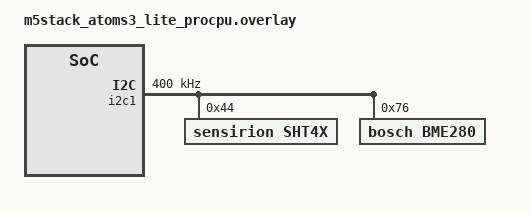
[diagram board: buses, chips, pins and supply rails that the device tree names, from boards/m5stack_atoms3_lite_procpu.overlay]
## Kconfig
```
# Private config options for LwM2M client sample

# Copyright (c) 2023 NordicNordic Semiconductor ASA
# SPDX-License-Identifier: Apache-2.0

mainmenu "LwM2M Client sample"

config LWM2M_APP_ID
	string "LwM2M Client identity"
	default ""
	help
	  This is used as client endpoint name as well as PSK ID.
	  Leave empty for using CONFIG_BOARD

if LWM2M_DTLS_SUPPORT
config LWM2M_APP_PSK
	string "PSK key"
	default "000102030405060708090a0b0c0d0e0f"
	help
	  PSK key as a hex string.
	  Maximum binary size is CONFIG_LWM2M_SECURITY_KEY_SIZE.

config LWM2M_APP_TLS_TAG
	int "TLS security tag"
	default 1
	help
	  TLS security tag to use when connecting.
endif

if WIFI
config WIFI_SSID
	string "WiFi SSID"
	#default "my_wifi"
	default "FRITZ!Box 3490"
	help
	  WiFi SSID to connect to.

config WIFI_PSK
	string "WiFi PSK"
	#default "my_password"
	default "!linksys!"
	help
	  WiFi PSK to use.
endif

config DL_SERVER_HOSTNAME
    string "Hostname of http download server. This is a security feature to \\
            prevent downloading firmware from other sources."
    default "https://flownexus.org"

config LWM2M_APP_SERVER
	string "LwM2M server address"
	default "coap://flownexus.org:5683" if !LWM2M_DTLS_SUPPORT
	default "coaps://192.0.2.2:5684" if (LWM2M_DTLS_SUPPORT && !LWM2M_RD_CLIENT_SUPPORT_BOOTSTRAP)
	default "coaps://192.0.2.2:5784" if (LWM2M_DTLS_SUPPORT && LWM2M_RD_CLIENT_SUPPORT_BOOTSTRAP)
	help
	  LwM2M server address. Write as a full URI including optional port number.
	  Only accepted protocols are "coap://" and "coaps://"
	  When DNS resolver is enabled, DNS domain names could be used as well.
	  When port number is missing, CONFIG_LWM2M_PEER_PORT is used instead.
	  IPv6 addresses must be enclosed in square brackets, for example "coap://[fd00::1]".

source "Kconfig.zephyr"
```

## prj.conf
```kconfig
CONFIG_NETWORKING=y
CONFIG_NET_CONNECTION_MANAGER=y
CONFIG_GPIO=y
CONFIG_TEST_RANDOM_GENERATOR=y
CONFIG_NET_IPV6=y
CONFIG_NET_IF_UNICAST_IPV6_ADDR_COUNT=3
CONFIG_NET_IF_MCAST_IPV6_ADDR_COUNT=3
CONFIG_NET_IPV4=y
CONFIG_NET_DHCPV4=n
CONFIG_NET_IF_UNICAST_IPV4_ADDR_COUNT=3
CONFIG_NET_IF_MCAST_IPV4_ADDR_COUNT=2
CONFIG_PRINTK=y
CONFIG_NET_SOCKETS=y
CONFIG_NET_TCP=y
CONFIG_POSIX_API=y
CONFIG_NET_PKT_RX_COUNT=10
CONFIG_NET_PKT_TX_COUNT=10
CONFIG_NET_BUF_RX_COUNT=10
CONFIG_NET_BUF_TX_COUNT=10
CONFIG_NET_MAX_CONTEXTS=5

CONFIG_DNS_RESOLVER=y
CONFIG_DNS_SERVER_IP_ADDRESSES=y
CONFIG_DNS_SERVER1="192.0.2.2"
CONFIG_DNS_SERVER2="8.8.8.8"
CONFIG_LWM2M_DNS_SUPPORT=y
CONFIG_NET_CONFIG_MY_IPV4_GW="192.0.2.2"

CONFIG_REQUIRES_FULL_LIBC=y
CONFIG_MAIN_STACK_SIZE=4096
CONFIG_NET_BUF_DATA_SIZE=1500

# Logging
CONFIG_NET_LOG=y
CONFIG_LOG=y
CONFIG_LWM2M_LOG_LEVEL_INF=y

CONFIG_NET_CONFIG_NEED_IPV6=y
CONFIG_NET_CONFIG_NEED_IPV4=y
CONFIG_NET_CONFIG_SETTINGS=y

CONFIG_LWM2M=y
CONFIG_LWM2M_COAP_BLOCK_SIZE=512
CONFIG_LWM2M_IPSO_SUPPORT=y
CONFIG_LWM2M_IPSO_TEMP_SENSOR=y
CONFIG_LWM2M_IPSO_HUMIDITY_SENSOR=y
CONFIG_LWM2M_IPSO_LIGHT_CONTROL=y
CONFIG_LWM2M_IPSO_TIMER=y
CONFIG_LWM2M_SHELL=y
CONFIG_NET_SHELL=y
CONFIG_SHELL=y

CONFIG_NET_CONFIG_MY_IPV6_ADDR="2001:db8::1"
CONFIG_NET_CONFIG_PEER_IPV6_ADDR="2001:db8::2"
CONFIG_NET_CONFIG_MY_IPV4_ADDR="192.0.2.1"
CONFIG_NET_CONFIG_MY_IPV4_GW="192.0.2.2"

CONFIG_DL_SERVER_HOSTNAME="https://flownexus.org"
#CONFIG_DL_SERVER_HOSTNAME="http://192.0.2.2"

CONFIG_LWM2M_APP_SERVER="coap://flownexus.org:5683"
#CONFIG_LWM2M_APP_SERVER="coap://192.0.2.2:5683"
#CONFIG_LWM2M_APP_SERVER="coap://192.168.178.88:5683"

# Longer endpoint name might be returned in a registration reply
CONFIG_COAP_EXTENDED_OPTIONS_LEN=y
CONFIG_COAP_EXTENDED_OPTIONS_LEN_VALUE=40

# Data format and LwM2M Version
CONFIG_LWM2M_VERSION_1_1=y

# SenML CBOR - default
CONFIG_ZCBOR=y
CONFIG_LWM2M_RW_CBOR_SUPPORT=y
CONFIG_LWM2M_RW_SENML_CBOR_SUPPORT=y
CONFIG_LWM2M_RW_JSON_SUPPORT=n
CONFIG_LWM2M_RW_SENML_JSON_SUPPORT=n
CONFIG_ZCBOR_CANONICAL=y
 # Time series support
CONFIG_LWM2M_RW_SENML_CBOR_RECORDS=100
CONFIG_LWM2M_RESOURCE_DATA_CACHE_SUPPORT=y
CONFIG_LWM2M_COAP_BLOCK_TRANSFER=y
CONFIG_LWM2M_COAP_ENCODE_BUFFER_SIZE=4096
CONFIG_RING_BUFFER=y
```

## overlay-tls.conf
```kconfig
# TLS configuration
CONFIG_MBEDTLS=y
CONFIG_MBEDTLS_BUILTIN=y
CONFIG_MBEDTLS_ENABLE_HEAP=y
CONFIG_MBEDTLS_HEAP_SIZE=65000
CONFIG_MBEDTLS_SSL_MAX_CONTENT_LEN=16384
CONFIG_MBEDTLS_PEM_CERTIFICATE_FORMAT=y

# Enable PSK and ECDHE_ECDSA
CONFIG_MBEDTLS_KEY_EXCHANGE_PSK_ENABLED=y
CONFIG_MBEDTLS_KEY_EXCHANGE_ECDHE_ECDSA_ENABLED=y
# We only need prime384v1 curve
CONFIG_MBEDTLS_ECP_ALL_ENABLED=y
CONFIG_MBEDTLS_ECDH_C=y
CONFIG_MBEDTLS_ECDSA_C=y
CONFIG_MBEDTLS_ECP_C=y
CONFIG_MBEDTLS_CIPHER_CCM_ENABLED=y
CONFIG_MBEDTLS_CIPHER_GCM_ENABLED=y

CONFIG_NET_SOCKETS_SOCKOPT_TLS=y
```

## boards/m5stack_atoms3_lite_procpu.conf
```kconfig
CONFIG_SENSOR=y
CONFIG_SENSOR_SHELL=y

# OTA Update related settings
CONFIG_FLASH=y
CONFIG_FLASH_MAP=y
CONFIG_STREAM_FLASH=y
CONFIG_STREAM_FLASH_PROGRESS=y
CONFIG_REBOOT=y
CONFIG_MCUBOOT_IMG_MANAGER=y
CONFIG_IMG_MANAGER=y
CONFIG_BOOTLOADER_MCUBOOT=y
CONFIG_MPU_ALLOW_FLASH_WRITE=y
CONFIG_HWINFO=y
CONFIG_SETTINGS=y
CONFIG_IMG_ENABLE_IMAGE_CHECK=y
CONFIG_IMG_ERASE_PROGRESSIVELY=y
CONFIG_MCUBOOT_GENERATE_UNSIGNED_IMAGE=n
#CONFIG_MCUBOOT_GENERATE_CONFIRMED_IMAGE=y
#CONFIG_MCUBOOT_SIGNATURE_KEY_FILE="./bootloader/mcuboot/root-rsa-2048.pem"
```

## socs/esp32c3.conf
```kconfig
CONFIG_WIFI=y
CONFIG_NETWORKING=y
CONFIG_NET_L2_ETHERNET=y

CONFIG_ESP32_WIFI_STA_AUTO_DHCPV4=y

CONFIG_NET_LOG=y

CONFIG_WIFI_LOG_LEVEL_ERR=y
CONFIG_NET_L2_WIFI_SHELL=y
```

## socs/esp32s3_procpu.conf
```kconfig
CONFIG_WIFI=y

CONFIG_NETWORKING=y
CONFIG_NET_L2_ETHERNET=y

CONFIG_NET_IPV6=n
CONFIG_NET_IPV4=y
CONFIG_NET_DHCPV4=y
CONFIG_ESP32_WIFI_STA_AUTO_DHCPV4=y

CONFIG_NET_LOG=y

CONFIG_WIFI_LOG_LEVEL_ERR=y
CONFIG_NET_L2_WIFI_SHELL=y
```

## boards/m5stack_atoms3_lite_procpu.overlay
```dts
/*
 * Copyright (c) 2024 Jonas Remmert
 *
 * SPDX-License-Identifier: Apache-2.0
 */

&i2c1 {
	status = "okay";
	clock-frequency = <I2C_BITRATE_FAST>;

	sht4x@44 {
		status = "okay";
		compatible = "sensirion,sht4x";
		reg = <0x44>;
		repeatability = <2>;
	};

	/*
	 * This board does not have a BME280 but a BMP280. The two parts are
	 * similar, the BME280 driver works for BMP280 as well.
	 */
	bme280@76 {
		compatible = "bosch,bme280";
		status = "okay";
		reg = <0x76>;
	};
};
```

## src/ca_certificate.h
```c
/*
 * Copyright (c) 2018 Nordic Semiconductor ASA
 *
 * SPDX-License-Identifier: Apache-2.0
 */

#ifndef __CA_CERTIFICATE_H__
#define __CA_CERTIFICATE_H__

#define CA_CERTIFICATE_TAG 0

/* By default only certificates in DER format are supported. If you want to use
 * certificate in PEM format, you can enable support for it in Kconfig.
 */

/* ISRG Root X1 for Let's Encrypt
 */
static const unsigned char *ca_certificates[] = {
#include "isrgrootx1.pem"
};


#endif /* __CA_CERTIFICATE_H__ */
```

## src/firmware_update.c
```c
/*
 * Copyright (c) 2022 Nordic Semiconductor
 * Copyright (c) 2024 Jonas Remmert
 *
 * SPDX-License-Identifier: Apache-2.0
 */

#define LOG_MODULE_NAME app_fw_update
#define LOG_LEVEL LOG_LEVEL_INF

#include <zephyr/logging/log.h>
LOG_MODULE_REGISTER(LOG_MODULE_NAME, LOG_LEVEL);

#include <zephyr/net/lwm2m.h>
#include "lwm2m_engine.h"
#include <zephyr/posix/sys/socket.h>
#include <zephyr/posix/netdb.h>
#include <zephyr/posix/unistd.h>
#include <zephyr/net/http/client.h>
#include "modules.h"
#include <ctype.h>
#include <stdio.h>
#include <stdlib.h>
#include <string.h>
#include <errno.h>

#if defined(CONFIG_NET_SOCKETS_SOCKOPT_TLS)
#include <zephyr/net/tls_credentials.h>
#include "ca_certificate.h"
#endif

#define MAX_URL_LENGTH 256

const char *host;
const char *port;
static char download_url[MAX_URL_LENGTH];
static char response[CONFIG_NET_BUF_DATA_SIZE];
unsigned int cur_bytes;

static struct lwm2m_ctx *client_ctx;

#define SSTRLEN(s) (sizeof(s) - 1)

static ssize_t sendall(int sock, const void *buf, size_t len)
{
	while (len) {
		ssize_t out_len = send(sock, buf, len, 0);
		if (out_len < 0) {
			return out_len;
		}
		buf = (const char *)buf + out_len;
		len -= out_len;
	}

	return 0;
}

static int parse_status(bool *redirect)
{
	char *ptr;
	int code;

	ptr = strstr(response, "HTTP");
	if (ptr == NULL) {
		return -1;
	}

	ptr = strstr(response, " ");
	if (ptr == NULL) {
		return -1;
	}

	ptr++;

	code = atoi(ptr);
	if (code >= 300 && code < 400) {
		*redirect = true;
	}

	return 0;
}

static int parse_header(bool *location_found)
{
	char *ptr;

	ptr = strstr(response, ":");
	if (ptr == NULL) {
		return 0;
	}

	*ptr = '\0';
	ptr = response;

	while (*ptr != '\0') {
		*ptr = tolower(*ptr);
		ptr++;
	}

	if (strcmp(response, "location") != 0) {
		return 0;
	}

	/* Skip whitespace */
	while (*(++ptr) == ' ') {
		;
	}

	strncpy(download_url, ptr, sizeof(download_url));
	download_url[sizeof(download_url) - 1] = '\0';

	/* Trim LF. */
	ptr = strstr(download_url, "\n");
	if (ptr == NULL) {
		printf("Redirect URL too long or malformed\n");
		return -1;
	}

	*ptr = '\0';

	/* Trim CR if present. */
	ptr = strstr(download_url, "\r");
	if (ptr != NULL) {
		*ptr = '\0';
	}

	*location_found = true;

	return 0;
}

static int skip_headers(int sock)
{
	int state = 0;
	int i = 0;
	bool status_line = true;
	bool redirect_code = false;
	bool location_found = false;

	while (1) {
		int st;

		st = recv(sock, response + i, 1, 0);
		if (st <= 0) {
			return st;
		}
		LOG_DBG("Received %c", response[i]);

		if (state == 0 && response[i] == '\r') {
			state++;
		} else if ((state == 0 || state == 1) && response[i] == '\n') {
			state = 2;
			response[i + 1] = '\0';
			i = 0;

			if (status_line) {
				if (parse_status(&redirect_code) < 0) {
					return -1;
				}

				status_line = false;
			} else {
				if (parse_header(&location_found) < 0) {
					return -1;
				}
			}

			continue;
		} else if (state == 2 && response[i] == '\r') {
			state++;
		} else if ((state == 2 || state == 3) && response[i] == '\n') {
			break;
		} else {
			state = 0;
		}

		i++;
		if (i >= sizeof(response) - 1) {
			i = 0;
		}
	}

	return 1;
}

static int download(char *host, char *path)
{
	static struct addrinfo hints;
	struct addrinfo *res;
	int sock;
	int resolve_attempts = 10;
	int ret;
	bool is_tls = false;

	if (strncmp(host, "http://", SSTRLEN("http://")) == 0) {
		port = "8000";
		host += SSTRLEN("http://");
#if defined(CONFIG_NET_SOCKETS_SOCKOPT_TLS)
	} else if (strncmp(host, "https://",
		   SSTRLEN("https://")) == 0) {
		is_tls = true;
		port = "443";
		host += SSTRLEN("https://");
#endif /* defined(CONFIG_NET_SOCKETS_SOCKOPT_TLS) */
	} else {
		LOG_ERR("Only http: "
#if defined(CONFIG_NET_SOCKETS_SOCKOPT_TLS)
		      "and https: "
#endif
		      "URLs are supported");
		return -EINVAL;
	}

	LOG_INF("HTTP GET request for http%s://%s:%s%s",
	       (is_tls ? "s" : ""), host, port, path);

	hints.ai_family = AF_INET;
	hints.ai_socktype = SOCK_STREAM;

	while (resolve_attempts--) {
		ret = getaddrinfo(host, port, &hints, &res);
		if (ret == 0) {
			break;
		}

		LOG_ERR("getaddrinfo status: %d, retrying\n", ret);
		k_sleep(K_MSEC(1000));
	}
	if (ret != 0) {
		LOG_ERR("Unable to resolve address");
		return -ETIMEDOUT;
	}

	cur_bytes = 0U;

	if (is_tls) {
#if defined(CONFIG_NET_SOCKETS_SOCKOPT_TLS)
		sock = socket(res->ai_family, res->ai_socktype, IPPROTO_TLS_1_2);
#else
		LOG_ERR("TLS not supported\n");
		return -ENOTSUP;
#endif
	} else {
		sock = socket(res->ai_family, res->ai_socktype, res->ai_protocol);
	}

	if (sock < 0) {
		LOG_ERR("Failed to create socket %d", sock);
		return -ENOTCONN;
	}

#if defined(CONFIG_NET_SOCKETS_SOCKOPT_TLS)
	if (is_tls) {
		LOG_INF("Setting up TLS parameters");
		sec_tag_t sec_tag_opt[ARRAY_SIZE(ca_certificates)];

		for (int i = 0; i < ARRAY_SIZE(ca_certificates); i++) {
			sec_tag_opt[i] = CA_CERTIFICATE_TAG + i;
		};

		ret = setsockopt(sock, SOL_TLS, TLS_SEC_TAG_LIST,
				 sec_tag_opt, sizeof(sec_tag_opt));
		if (ret < 0) {
			LOG_ERR("Failed to set TLS_SEC_TAG_LIST option");
			goto error;
		}

		ret = setsockopt(sock, SOL_TLS, TLS_HOSTNAME, host, strlen(host) + 1);
		if (ret < 0) {
			LOG_ERR("Failed to set TLS_HOSTNAME option");
			goto error;
		}
		LOG_INF("TLS HOSTNAME set to %s", host);
		LOG_INF("TLS SEC TAG LIST set to %d", sec_tag_opt[0]);
		LOG_INF("Connecting to %s:%s", host, port);
	}
#endif
	ret = connect(sock, res->ai_addr, res->ai_addrlen);
	if (ret < 0) {
		LOG_ERR("Failed to connect to server");
		goto error;
	}
	sendall(sock, "GET /", SSTRLEN("GET /"));
	sendall(sock, path, strlen(path));
	sendall(sock, " HTTP/1.0\r\n", SSTRLEN(" HTTP/1.0\r\n"));
	sendall(sock, "Host: ", SSTRLEN("Host: "));
	sendall(sock, host, strlen(host));
	sendall(sock, "\r\n\r\n", SSTRLEN("\r\n\r\n"));

	if (skip_headers(sock) <= 0) {
		LOG_ERR("EOF or error in response headers");
		ret = -EINVAL;
		goto error;
	}

	while (1) {
		LOG_INF("Receiving data");
		int len = recv(sock, response, sizeof(response) - 1, 0);

		if (len < 0) {
			if (errno == EAGAIN || errno == EWOULDBLOCK) {
				LOG_ERR("Timeout on reading response");
				ret = -errno;
			} else {
				LOG_ERR("Error reading response");
				ret = -errno;
			}
			goto error;
		}

		if (len == 0) {
			LOG_INF("EOF on response");
			break;
		}

		cur_bytes += len;
		LOG_INF("Downloaded %u Bytes", cur_bytes);

		response[len] = 0;
	}

error:
	(void)close(sock);
	freeaddrinfo(res);

	return ret;
}

static int firmware_update_cb(uint16_t obj_inst_id,
			      uint8_t *args, uint16_t args_len)
{
	LOG_INF("FIRMWARE: UPDATE");

	/* TODO: kick off update process */

	/* If success, set the update result as RESULT_SUCCESS.
	 * In reality, it should be set at function lwm2m_setup()
	 */
	lwm2m_firmware_set_update_result(RESULT_SUCCESS);
	lwm2m_send_cb(client_ctx, &LWM2M_OBJ(5, 0, 3), 1, NULL);
	lwm2m_send_cb(client_ctx, &LWM2M_OBJ(5, 0, 5), 1, NULL);
	return 0;
}

static int firmware_download_cb(uint16_t obj_inst_id,
				uint16_t res_id, uint16_t res_inst_id,
				uint8_t *data, uint16_t data_len,
				bool last_block, size_t total_size, size_t offset)
{
	int ret;

	LOG_INF("FIRMWARE: DOWNLOAD");
	LOG_INF("Download Link: %s", data);

	lwm2m_firmware_set_update_state(STATE_DOWNLOADING);
	lwm2m_send_cb(client_ctx, &LWM2M_OBJ(5, 0, 3), 1, NULL);

	/* download is a blocking method */
	ret = download(CONFIG_DL_SERVER_HOSTNAME, data);
	if (ret == 0) {
		lwm2m_firmware_set_update_state(STATE_DOWNLOADED);
		lwm2m_send_cb(client_ctx, &LWM2M_OBJ(5, 0, 3), 1, NULL);
		return 0;
	}

	LOG_ERR("Download failed with %d", ret);
	switch (ret) {
		case -ENOTSUP:
		case -EINVAL:
		lwm2m_firmware_set_update_result(RESULT_UNSUP_PROTO);
		lwm2m_firmware_set_update_state(STATE_IDLE);
		break;
		case -ENOTCONN:
		lwm2m_firmware_set_update_result(RESULT_CONNECTION_LOST);
		lwm2m_firmware_set_update_state(STATE_IDLE);
		break;
		default:
		lwm2m_firmware_set_update_result(RESULT_UPDATE_FAILED);
		lwm2m_firmware_set_update_state(STATE_IDLE);
	}

	lwm2m_send_cb(client_ctx, &LWM2M_OBJ(5, 0, 3), 1, NULL);
	lwm2m_send_cb(client_ctx, &LWM2M_OBJ(5, 0, 5), 1, NULL);

	return ret;
}

static int firmware_cancel_cb(const uint16_t obj_inst_id)
{
	LOG_INF("FIRMWARE: Update canceled");

	lwm2m_firmware_set_update_state(STATE_IDLE);
	lwm2m_firmware_set_update_result(RESULT_UPDATE_FAILED);

	lwm2m_send_cb(client_ctx, &LWM2M_OBJ(5, 0, 3), 1, NULL);
	lwm2m_send_cb(client_ctx, &LWM2M_OBJ(5, 0, 5), 1, NULL);

	return 0;
}

void init_firmware_update(struct lwm2m_ctx *client)
{
	client_ctx = client;

#if defined(CONFIG_NET_SOCKETS_SOCKOPT_TLS)
	LOG_INF("Adding CA certificate");
	for (int i = 0; i < ARRAY_SIZE(ca_certificates); i++) {
		ret = tls_credential_add(CA_CERTIFICATE_TAG + i,
				   TLS_CREDENTIAL_CA_CERTIFICATE,
				   ca_certificates[i],
				   strlen(ca_certificates[i]) + 1);
		if (ret < 0) {
			LOG_ERR("Failed to add CA certificate %d", i);
			return;
		}
	}
#endif
	/* setup data buffer for block-wise transfer */
	lwm2m_register_post_write_callback(&LWM2M_OBJ(5, 0, 1), firmware_download_cb);

	lwm2m_firmware_set_cancel_cb(firmware_cancel_cb);
	lwm2m_firmware_set_update_cb(firmware_update_cb);
}
```

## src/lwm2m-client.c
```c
/*
 * Copyright (c) 2017 Linaro Limited
 * Copyright (c) 2017-2019 Foundries.io
 *
 * SPDX-License-Identifier: Apache-2.0
 */

#define LOG_MODULE_NAME net_lwm2m_client_app
#define LOG_LEVEL LOG_LEVEL_INF

#include <zephyr/logging/log.h>
LOG_MODULE_REGISTER(LOG_MODULE_NAME, LOG_LEVEL);

#include <zephyr/drivers/hwinfo.h>
#include <zephyr/kernel.h>
#include <zephyr/drivers/gpio.h>
#include <zephyr/drivers/sensor.h>
#include <zephyr/net/lwm2m.h>
#include <zephyr/net/conn_mgr_monitor.h>
#include <zephyr/net/conn_mgr_connectivity.h>
#include <zephyr/net/wifi_mgmt.h>
#include "modules.h"
#include "lwm2m_resource_ids.h"

#define APP_BANNER "Run LWM2M client"

#define WAIT_TIME	K_SECONDS(10)
#define CONNECT_TIME	K_SECONDS(10)

#define CLIENT_MANUFACTURER	"Zephyr"
#define CLIENT_MODEL_NUMBER	"OMA-LWM2M Sample Client"
#define CLIENT_SERIAL_NUMBER	"345000123"
#define CLIENT_FIRMWARE_VER	"1.0"
#define CLIENT_HW_VER		"1.0.1"
#define TEMP_SENSOR_UNITS	"Celcius"

/* Macros used to subscribe to specific Zephyr NET management events. */
#define L4_EVENT_MASK (NET_EVENT_L4_CONNECTED | NET_EVENT_L4_DISCONNECTED)
#define CONN_LAYER_EVENT_MASK (NET_EVENT_CONN_IF_FATAL_ERROR)

static uint8_t bat_idx = LWM2M_DEVICE_PWR_SRC_TYPE_BAT_INT;
static int bat_mv = 3800;
static int bat_ma = 125;
static uint8_t usb_idx = LWM2M_DEVICE_PWR_SRC_TYPE_USB;
static int usb_mv = 5000;
static int usb_ma = 900;
static uint8_t bat_level = 95;
static uint8_t bat_status = LWM2M_DEVICE_BATTERY_STATUS_CHARGING;
static int mem_free = 15;
static int mem_total = 25;
static double min_range = 0.0;
static double max_range = 100;

struct lwm2m_ctx client_ctx = {0};

static const char *endpoint =
	(sizeof(CONFIG_LWM2M_APP_ID) > 1 ? CONFIG_LWM2M_APP_ID : CONFIG_BOARD);

#if defined(CONFIG_LWM2M_DTLS_SUPPORT)
BUILD_ASSERT(sizeof(endpoint) <= CONFIG_LWM2M_SECURITY_KEY_SIZE,
		"Client ID length is too long");
#endif /* CONFIG_LWM2M_DTLS_SUPPORT */

static struct k_sem quit_lock;

/* Zephyr NET management event callback structures. */
static struct net_mgmt_event_callback l4_cb;
static struct net_mgmt_event_callback conn_cb;
static struct net_mgmt_event_callback wifi_conn_cb;

#if defined(CONFIG_WIFI) && (CONFIG_WIFI == 1)
static struct wifi_connect_req_params cnx_params;
#endif

static K_SEM_DEFINE(network_connected_sem, 0, 1);

static int device_reboot_cb(uint16_t obj_inst_id,
			    uint8_t *args, uint16_t args_len)
{
	LOG_INF("DEVICE: REBOOT");
	/* Add an error for testing */
	lwm2m_device_add_err(LWM2M_DEVICE_ERROR_LOW_POWER);
	/* Change the battery voltage for testing */
	lwm2m_set_s32(&LWM2M_OBJ(3, 0, 7, 0), (bat_mv - 1));

	return 0;
}

static int device_factory_default_cb(uint16_t obj_inst_id,
				     uint8_t *args, uint16_t args_len)
{
	LOG_INF("DEVICE: FACTORY DEFAULT");
	/* Add an error for testing */
	lwm2m_device_add_err(LWM2M_DEVICE_ERROR_GPS_FAILURE);
	/* Change the USB current for testing */
	lwm2m_set_s32(&LWM2M_OBJ(3, 0, 8, 1), (usb_ma - 1));

	return 0;
}

static int lwm2m_setup(void)
{
	struct lwm2m_res_item temp_sensor_items[] = {
		{&LWM2M_OBJ(IPSO_OBJECT_TEMP_SENSOR_ID, 0, MIN_RANGE_VALUE_RID), &min_range,
		 sizeof(min_range)},
		{&LWM2M_OBJ(IPSO_OBJECT_TEMP_SENSOR_ID, 0, MAX_RANGE_VALUE_RID), &max_range,
		 sizeof(max_range)},
		{&LWM2M_OBJ(IPSO_OBJECT_TEMP_SENSOR_ID, 0, SENSOR_UNITS_RID), TEMP_SENSOR_UNITS,
		 sizeof(TEMP_SENSOR_UNITS)}
	};

	/* setup SECURITY object */

	/* Server URL */
	lwm2m_set_string(&LWM2M_OBJ(0, 0, 0), CONFIG_LWM2M_APP_SERVER);

	/* Security Mode */
	lwm2m_set_u8(&LWM2M_OBJ(0, 0, 2), IS_ENABLED(CONFIG_LWM2M_DTLS_SUPPORT) ? 0 : 3);
#if defined(CONFIG_LWM2M_DTLS_SUPPORT)
	lwm2m_set_string(&LWM2M_OBJ(0, 0, 3), endpoint);
	if (sizeof(CONFIG_LWM2M_APP_PSK) > 1) {
		char psk[1 + sizeof(CONFIG_LWM2M_APP_PSK) / 2];
		/* Need to skip the nul terminator from string */
		size_t len = hex2bin(CONFIG_LWM2M_APP_PSK, sizeof(CONFIG_LWM2M_APP_PSK) - 1, psk,
				     sizeof(psk));
		if (len <= 0) {
			return -EINVAL;
		}
		lwm2m_set_opaque(&LWM2M_OBJ(0, 0, 5), (void *)psk, len);
	}
#endif /* CONFIG_LWM2M_DTLS_SUPPORT */

#if defined(CONFIG_LWM2M_RD_CLIENT_SUPPORT_BOOTSTRAP)
	/* Mark 1st instance of security object as a bootstrap server */
	lwm2m_set_u8(&LWM2M_OBJ(0, 0, 1), 1);

	/* Create 2nd instance of security object needed for bootstrap */
	lwm2m_create_object_inst(&LWM2M_OBJ(0, 1));
#else
	/* Match Security object instance with a Server object instance with
	 * Short Server ID.
	 */
	lwm2m_set_u16(&LWM2M_OBJ(0, 0, 10), CONFIG_LWM2M_SERVER_DEFAULT_SSID);
	lwm2m_set_u16(&LWM2M_OBJ(1, 0, 0), CONFIG_LWM2M_SERVER_DEFAULT_SSID);
#endif

	/* setup SERVER object */

	/* setup DEVICE object */

	lwm2m_set_res_buf(&LWM2M_OBJ(3, 0, 0), CLIENT_MANUFACTURER, sizeof(CLIENT_MANUFACTURER),
			  sizeof(CLIENT_MANUFACTURER), LWM2M_RES_DATA_FLAG_RO);
	lwm2m_set_res_buf(&LWM2M_OBJ(3, 0, 1), CLIENT_MODEL_NUMBER, sizeof(CLIENT_MODEL_NUMBER),
			  sizeof(CLIENT_MODEL_NUMBER), LWM2M_RES_DATA_FLAG_RO);
	lwm2m_set_res_buf(&LWM2M_OBJ(3, 0, 2), CLIENT_SERIAL_NUMBER, sizeof(CLIENT_SERIAL_NUMBER),
			  sizeof(CLIENT_SERIAL_NUMBER), LWM2M_RES_DATA_FLAG_RO);
	lwm2m_set_res_buf(&LWM2M_OBJ(3, 0, 3), CLIENT_FIRMWARE_VER, sizeof(CLIENT_FIRMWARE_VER),
			  sizeof(CLIENT_FIRMWARE_VER), LWM2M_RES_DATA_FLAG_RO);
	lwm2m_register_exec_callback(&LWM2M_OBJ(3, 0, 4), device_reboot_cb);
	lwm2m_register_exec_callback(&LWM2M_OBJ(3, 0, 5), device_factory_default_cb);
	lwm2m_set_res_buf(&LWM2M_OBJ(3, 0, 9), &bat_level, sizeof(bat_level), sizeof(bat_level), 0);
	lwm2m_set_res_buf(&LWM2M_OBJ(3, 0, 10), &mem_free, sizeof(mem_free), sizeof(mem_free), 0);
	lwm2m_set_res_buf(&LWM2M_OBJ(3, 0, 17), CONFIG_BOARD, sizeof(CONFIG_BOARD),
			  sizeof(CONFIG_BOARD), LWM2M_RES_DATA_FLAG_RO);
	lwm2m_set_res_buf(&LWM2M_OBJ(3, 0, 18), CLIENT_HW_VER, sizeof(CLIENT_HW_VER),
			  sizeof(CLIENT_HW_VER), LWM2M_RES_DATA_FLAG_RO);
	lwm2m_set_res_buf(&LWM2M_OBJ(3, 0, 20), &bat_status, sizeof(bat_status),
			  sizeof(bat_status), 0);
	lwm2m_set_res_buf(&LWM2M_OBJ(3, 0, 21), &mem_total, sizeof(mem_total),
			  sizeof(mem_total), 0);

	/* add power source resource instances */
	lwm2m_create_res_inst(&LWM2M_OBJ(3, 0, 6, 0));
	lwm2m_set_res_buf(&LWM2M_OBJ(3, 0, 6, 0), &bat_idx, sizeof(bat_idx), sizeof(bat_idx), 0);
	lwm2m_create_res_inst(&LWM2M_OBJ(3, 0, 7, 0));
	lwm2m_set_res_buf(&LWM2M_OBJ(3, 0, 7, 0), &bat_mv, sizeof(bat_mv), sizeof(bat_mv), 0);
	lwm2m_create_res_inst(&LWM2M_OBJ(3, 0, 8, 0));
	lwm2m_set_res_buf(&LWM2M_OBJ(3, 0, 8, 0), &bat_ma, sizeof(bat_ma), sizeof(bat_ma), 0);
	lwm2m_create_res_inst(&LWM2M_OBJ(3, 0, 6, 1));
	lwm2m_set_res_buf(&LWM2M_OBJ(3, 0, 6, 1), &usb_idx, sizeof(usb_idx), sizeof(usb_idx), 0);
	lwm2m_create_res_inst(&LWM2M_OBJ(3, 0, 7, 1));
	lwm2m_set_res_buf(&LWM2M_OBJ(3, 0, 7, 1), &usb_mv, sizeof(usb_mv), sizeof(usb_mv), 0);
	lwm2m_create_res_inst(&LWM2M_OBJ(3, 0, 8, 1));
	lwm2m_set_res_buf(&LWM2M_OBJ(3, 0, 8, 1), &usb_ma, sizeof(usb_ma), sizeof(usb_ma), 0);

	/* setup FIRMWARE object */
	if (IS_ENABLED(CONFIG_LWM2M_FIRMWARE_UPDATE_OBJ_SUPPORT)) {
		init_firmware_update(&client_ctx);
	}

	/* setup TEMP SENSOR object */
	init_temp_sensor(&client_ctx);

	/* setup TIME SERIES object */
	init_time_series_obj(&client_ctx);

	/* Set multiple TEMP SENSOR resource values in one function call. */
	int err = lwm2m_set_bulk(temp_sensor_items, ARRAY_SIZE(temp_sensor_items));

	if (err) {
		LOG_ERR("Failed to set TEMP SENSOR resources");
		return err;
	}

	/* IPSO: Light Control object */
	init_led_device();

	/* IPSO: Timer object */
	init_timer_object();

	return 0;
}

static void rd_client_event(struct lwm2m_ctx *client,
			    enum lwm2m_rd_client_event client_event)
{
	switch (client_event) {

	case LWM2M_RD_CLIENT_EVENT_NONE:
		/* do nothing */
		break;

	case LWM2M_RD_CLIENT_EVENT_SERVER_DISABLED:
		LOG_DBG("LwM2M server disabled");
		break;

	case LWM2M_RD_CLIENT_EVENT_BOOTSTRAP_REG_FAILURE:
		LOG_DBG("Bootstrap registration failure!");
		break;

	case LWM2M_RD_CLIENT_EVENT_BOOTSTRAP_REG_COMPLETE:
		LOG_DBG("Bootstrap registration complete");
		break;

	case LWM2M_RD_CLIENT_EVENT_BOOTSTRAP_TRANSFER_COMPLETE:
		LOG_DBG("Bootstrap transfer complete");
		break;

	case LWM2M_RD_CLIENT_EVENT_REGISTRATION_FAILURE:
		LOG_DBG("Registration failure!");
		break;

	case LWM2M_RD_CLIENT_EVENT_REGISTRATION_COMPLETE:
		LOG_DBG("Registration complete");
		break;

	case LWM2M_RD_CLIENT_EVENT_REG_TIMEOUT:
		LOG_DBG("Registration timeout!");
		break;

	case LWM2M_RD_CLIENT_EVENT_REG_UPDATE_COMPLETE:
		LOG_DBG("Registration update complete");
		break;

	case LWM2M_RD_CLIENT_EVENT_DEREGISTER_FAILURE:
		LOG_DBG("Deregister failure!");
		break;

	case LWM2M_RD_CLIENT_EVENT_DISCONNECT:
		LOG_DBG("Disconnected");
		break;

	case LWM2M_RD_CLIENT_EVENT_QUEUE_MODE_RX_OFF:
		LOG_DBG("Queue mode RX window closed");
		break;

	case LWM2M_RD_CLIENT_EVENT_ENGINE_SUSPENDED:
		LOG_DBG("LwM2M engine suspended");
		break;

	case LWM2M_RD_CLIENT_EVENT_NETWORK_ERROR:
		LOG_ERR("LwM2M engine reported a network error.");
		lwm2m_rd_client_stop(client, rd_client_event, true);
		break;

	case LWM2M_RD_CLIENT_EVENT_REG_UPDATE:
		LOG_DBG("Registration update");
		break;
	case LWM2M_RD_CLIENT_EVENT_DEREGISTER:
		LOG_DBG("Client De-register");
		break;
	}
}

static void socket_state(int fd, enum lwm2m_socket_states state)
{
	(void) fd;
	switch (state) {
	case LWM2M_SOCKET_STATE_ONGOING:
		LOG_DBG("LWM2M_SOCKET_STATE_ONGOING");
		break;
	case LWM2M_SOCKET_STATE_ONE_RESPONSE:
		LOG_DBG("LWM2M_SOCKET_STATE_ONE_RESPONSE");
		break;
	case LWM2M_SOCKET_STATE_LAST:
		LOG_DBG("LWM2M_SOCKET_STATE_LAST");
		break;
	case LWM2M_SOCKET_STATE_NO_DATA:
		LOG_DBG("LWM2M_SOCKET_STATE_NO_DATA");
		break;
	}
}

static void observe_cb(enum lwm2m_observe_event event,
		       struct lwm2m_obj_path *path, void *user_data)
{
	char buf[LWM2M_MAX_PATH_STR_SIZE];

	switch (event) {

	case LWM2M_OBSERVE_EVENT_OBSERVER_ADDED:
		LOG_INF("Observer added for %s", lwm2m_path_log_buf(buf, path));
		break;

	case LWM2M_OBSERVE_EVENT_OBSERVER_REMOVED:
		LOG_INF("Observer removed for %s", lwm2m_path_log_buf(buf, path));
		break;

	case LWM2M_OBSERVE_EVENT_NOTIFY_ACK:
		LOG_INF("Notify acknowledged for %s", lwm2m_path_log_buf(buf, path));
		break;

	case LWM2M_OBSERVE_EVENT_NOTIFY_TIMEOUT:
		LOG_INF("Notify timeout for %s, trying registration update",
			lwm2m_path_log_buf(buf, path));

		lwm2m_rd_client_update();
		break;
	}
}

static void on_net_event_l4_disconnected(void)
{
	LOG_INF("Disconnected from network");
	lwm2m_engine_pause();
}

static void on_net_event_l4_connected(void)
{
	LOG_INF("Connected to network");
	k_sem_give(&network_connected_sem);
	lwm2m_engine_resume();
}

static void l4_event_handler(struct net_mgmt_event_callback *cb,
			     uint32_t event,
			     struct net_if *iface)
{
	LOG_DBG("Event %d", event);

	switch (event) {
	case NET_EVENT_L4_CONNECTED:
		LOG_INF("IP Up");
		on_net_event_l4_connected();
		break;
	case NET_EVENT_L4_DISCONNECTED:
		LOG_INF("IP down");
		on_net_event_l4_disconnected();
		break;
	default:
		break;
	}
}

static void connectivity_event_handler(struct net_mgmt_event_callback *cb,
				       uint32_t event,
				       struct net_if *iface)
{
	LOG_DBG("Event %d", event);
	switch (event) {
		case NET_EVENT_CONN_IF_FATAL_ERROR:
			LOG_INF("Failed to connect to network");
			break;
		case NET_EVENT_WIFI_CONNECT_RESULT:
			if (cb == &wifi_conn_cb) {
				struct wifi_status *status = (struct wifi_status *)iface;
				if (status->status) {
					LOG_INF("Wi-Fi connected");
					k_sem_give(&network_connected_sem);
				} else {
					LOG_INF("Wi-Fi connection failed");
				}
			}
			break;
		default:
			break;
	}
}

int main(void)
{
	uint32_t flags = IS_ENABLED(CONFIG_LWM2M_RD_CLIENT_SUPPORT_BOOTSTRAP) ?
				LWM2M_RD_CLIENT_FLAG_BOOTSTRAP : 0;
	int ret;

	LOG_INF(APP_BANNER);

	k_sem_init(&quit_lock, 0, K_SEM_MAX_LIMIT);

	if (IS_ENABLED(CONFIG_NET_CONNECTION_MANAGER)) {
		/* Setup handler for Zephyr NET Connection Manager events. */
		net_mgmt_init_event_callback(&l4_cb, l4_event_handler, L4_EVENT_MASK);
		net_mgmt_add_event_callback(&l4_cb);

		/* Setup handler for Zephyr NET Connection Manager Connectivity layer. */
		net_mgmt_init_event_callback(&conn_cb, connectivity_event_handler,
					     CONN_LAYER_EVENT_MASK);
		net_mgmt_add_event_callback(&conn_cb);

		net_mgmt_init_event_callback(&wifi_conn_cb, connectivity_event_handler,
					     NET_EVENT_WIFI_CONNECT_RESULT);
		net_mgmt_add_event_callback(&wifi_conn_cb);

		ret = net_if_up(net_if_get_default());

		if (ret < 0 && ret != -EALREADY) {
			LOG_ERR("net_if_up, error: %d", ret);
			return ret;
		}

#if defined(CONFIG_WIFI) && (CONFIG_WIFI == 1)
		cnx_params = (struct wifi_connect_req_params) {
			.ssid = CONFIG_WIFI_SSID,
			.ssid_length = strlen(CONFIG_WIFI_SSID),
			.psk = CONFIG_WIFI_PSK,
			.psk_length = strlen(CONFIG_WIFI_PSK),
			.channel = 0,
			.security = WIFI_SECURITY_TYPE_PSK,
		};
		LOG_INF("Wi-Fi network <%s>", CONFIG_WIFI_SSID);
		ret = net_mgmt(NET_REQUEST_WIFI_CONNECT, net_if_get_default(),
			       &cnx_params,
			       sizeof(struct wifi_connect_req_params));
#else
		ret = conn_mgr_if_connect(net_if_get_default());
#endif
		/* Ignore errors from interfaces not requiring connectivity */
		if (ret == 0) {
			LOG_INF("Connecting to network");
			k_sem_take(&network_connected_sem, K_FOREVER);
		}
	}

	ret = lwm2m_setup();
	if (ret < 0) {
		LOG_ERR("Cannot setup LWM2M fields (%d)", ret);
		return 0;
	}

	(void)memset(&client_ctx, 0x0, sizeof(client_ctx));
#if defined(CONFIG_LWM2M_DTLS_SUPPORT)
	client_ctx.tls_tag = CONFIG_LWM2M_APP_TLS_TAG;
#endif
	client_ctx.set_socket_state = socket_state;

	/* client_ctx.sec_obj_inst is 0 as a starting point */
	lwm2m_rd_client_start(&client_ctx, endpoint, flags, rd_client_event, observe_cb);

	k_sem_take(&quit_lock, K_FOREVER);
	return 0;
}
```

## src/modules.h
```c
/*
 * Copyright (c) 2022 Nordic Semiconductor
 *
 * SPDX-License-Identifier: Apache-2.0
 */

#ifndef _MODULES_H
#define _MODULES_H

#include <zephyr/net/lwm2m.h>

int init_led_device(void);
void init_timer_object(void);
void init_temp_sensor(struct lwm2m_ctx *client);
void init_firmware_update(struct lwm2m_ctx *client);

void init_time_series_obj(struct lwm2m_ctx *client);

#endif
```

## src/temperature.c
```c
/*
 * Copyright (c) 2022 Nordic Semiconductor
 *
 * SPDX-License-Identifier: Apache-2.0
 */

#define LOG_MODULE_NAME app_temp
#include <zephyr/logging/log.h>
LOG_MODULE_REGISTER(LOG_MODULE_NAME);

#include "modules.h"

#include <zephyr/drivers/hwinfo.h>
#include <zephyr/drivers/sensor.h>
#include <zephyr/net/lwm2m.h>
#include <zephyr/kernel.h>
#include <zephyr/random/random.h>
#include <stdint.h>

static struct k_work_delayable temp_work;
#define PERIOD K_MINUTES(1)

static void temp_work_cb(struct k_work *work)
{
	double t, h;

	if (IS_ENABLED(CONFIG_SHT4X)) {
		const struct device *dev = DEVICE_DT_GET_ANY(sensirion_sht4x);
		struct sensor_value val;

		if (!dev) {
			LOG_ERR("device not ready.");
			goto out;
		}
		if (sensor_sample_fetch(dev)) {
			LOG_ERR("temperature data update failed");
			goto out;
		}

		sensor_channel_get(dev, SENSOR_CHAN_AMBIENT_TEMP, &val);
		t = sensor_value_to_double(&val);
		sensor_channel_get(dev, SENSOR_CHAN_HUMIDITY, &val);
		h = sensor_value_to_double(&val);
		LOG_DBG("Temperature: %.2f, Humidity: %.2f", t, h);

	} else {
		/* Generate dummy temperature data */
		t = 20.0 + (double)sys_rand32_get() / UINT32_MAX * 5.0;
		h = 50.0 + (double)sys_rand32_get() / UINT32_MAX * 10.0;
	}

	lwm2m_set_f64(&LWM2M_OBJ(3303, 0, 5700), t);
	lwm2m_set_f64(&LWM2M_OBJ(3304, 0, 5700), h);

out:
	k_work_schedule(&temp_work, PERIOD);
}

void init_temp_sensor(void)
{
	if ((lwm2m_create_object_inst(&LWM2M_OBJ(3303, 0)) == 0) &&
	    (lwm2m_create_object_inst(&LWM2M_OBJ(3304, 0)) == 0)) {
		k_work_init_delayable(&temp_work, temp_work_cb);
		k_work_schedule(&temp_work, K_NO_WAIT);
	} else {
		LOG_ERR("Failed to create temperature object instance");
	}
}
```

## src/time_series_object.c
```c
/*
 * Copyright (c) 2024 Jonas Remmert
 *
 * SPDX-License-Identifier: Apache-2.0
 */

#define LOG_MODULE_NAME app_time_series_obj
#include <zephyr/logging/log.h>
LOG_MODULE_REGISTER(LOG_MODULE_NAME);

#include "modules.h"
#include <lwm2m_object.h>
#include <lwm2m_engine.h>
#include <zephyr/net/lwm2m.h>

#define N_SAMPLES	40
#define PERIOD		K_SECONDS(1)

#define TIME_SERIES_VERSION_MAJOR	1
#define TIME_SERIES_VERSION_MINOR	0
#define LWM2M_TIME_SERIES_ID		10300
#define LWM2M_TIME_SERIES_RAW_ID	0
#define TIME_SERIES_MAX_ID		1
/*
 * Calculate resource instances as follows:
 * start with EVENT_LOG_MAX_ID
 * subtract EXEC resources (0)
 */
#define RESOURCE_INSTANCE_COUNT (TIME_SERIES_MAX_ID - 0)

static struct k_work_delayable time_series_work;

static struct lwm2m_ctx *client_ctx;

/* resource state variables */
static uint8_t time_series_raw;
/* Allocate data cache storage */
static struct lwm2m_time_series_elem time_series_cache[N_SAMPLES];

static struct lwm2m_engine_obj lwm2m_time_series_obj;
static struct lwm2m_engine_obj_field fields[] = {
	OBJ_FIELD_DATA(LWM2M_TIME_SERIES_RAW_ID, R, U8),
};

static struct lwm2m_engine_obj_inst inst;
static struct lwm2m_engine_res res[TIME_SERIES_MAX_ID];
static struct lwm2m_engine_res_inst res_inst[RESOURCE_INSTANCE_COUNT];


void time_series_send_cb(enum lwm2m_send_status status)
{
	if (status == 0) {
		LOG_INF("Time series data sent successfully");
	} else {
		LOG_ERR("Time series data send failed");
	}

	/* Once the previous message is out, add new data */
	k_work_schedule(&time_series_work, PERIOD);
}

static void time_series_work_cb(struct k_work *work)
{
	int ret;
	static int sample;

	/* Assign a test payload that counts from 1 - N_SAMPLES */
	lwm2m_set_u8(&LWM2M_OBJ(LWM2M_TIME_SERIES_ID, 0,
				LWM2M_TIME_SERIES_RAW_ID), sample);
	if (sample < N_SAMPLES) {
		sample++;
		k_work_schedule(&time_series_work, PERIOD);
		LOG_INF("Sample: %d/%d", sample, N_SAMPLES);
		return;
	}

	LOG_INF("Sending time series data");
	ret = lwm2m_send_cb(client_ctx, &LWM2M_OBJ(LWM2M_TIME_SERIES_ID, 0,
						   LWM2M_TIME_SERIES_RAW_ID), 1,
			    time_series_send_cb);
	if (ret) {
		LOG_ERR("lwm2m_send_cb, error: %d", ret);
	}
	sample = 0;
}

static struct lwm2m_engine_obj_inst *lwm2m_time_series_obj_create(uint16_t obj_inst_id)
{
	int i = 0, j = 0;

	init_res_instance(res_inst, ARRAY_SIZE(res_inst));

	/* initialize instance resource data */
	INIT_OBJ_RES_DATA(LWM2M_TIME_SERIES_RAW_ID, res, i, res_inst, j,
			  &time_series_raw, sizeof(time_series_raw));

	inst.resources = res;
	inst.resource_count = i;

	LOG_INF("Created LwM2M Time Series instance: %d", obj_inst_id);
	return &inst;
}

void init_time_series_obj(struct lwm2m_ctx *client)
{
	client_ctx = client;
	struct lwm2m_engine_obj_inst *obj_inst = NULL;
	int ret = 0;

	/* initialize the Event Log field data */
	lwm2m_time_series_obj.obj_id = LWM2M_TIME_SERIES_ID;
	lwm2m_time_series_obj.version_major = TIME_SERIES_VERSION_MAJOR;
	lwm2m_time_series_obj.version_minor = TIME_SERIES_VERSION_MINOR;
	lwm2m_time_series_obj.is_core = false;
	lwm2m_time_series_obj.fields = fields;
	lwm2m_time_series_obj.field_count = ARRAY_SIZE(fields);
	lwm2m_time_series_obj.max_instance_count = 1U;
	lwm2m_time_series_obj.create_cb = lwm2m_time_series_obj_create;
	lwm2m_register_obj(&lwm2m_time_series_obj);

	/* auto create the first instance */
	ret = lwm2m_create_obj_inst(LWM2M_TIME_SERIES_ID, 0, &obj_inst);
	if (ret < 0) {
		LOG_ERR("Create LWM2M Pump Mon instance 0 error: %d", ret);
	}

	ret = lwm2m_enable_cache(&LWM2M_OBJ(LWM2M_TIME_SERIES_ID, 0, LWM2M_TIME_SERIES_RAW_ID),
				 time_series_cache, ARRAY_SIZE(time_series_cache));
	if (ret < 0) {
		LOG_ERR("Failed to enable cache for LWM2M Pump Mon instance 0: %d", ret);
	}

	k_work_init_delayable(&time_series_work, time_series_work_cb);
	k_work_schedule(&time_series_work, PERIOD);
}
```
